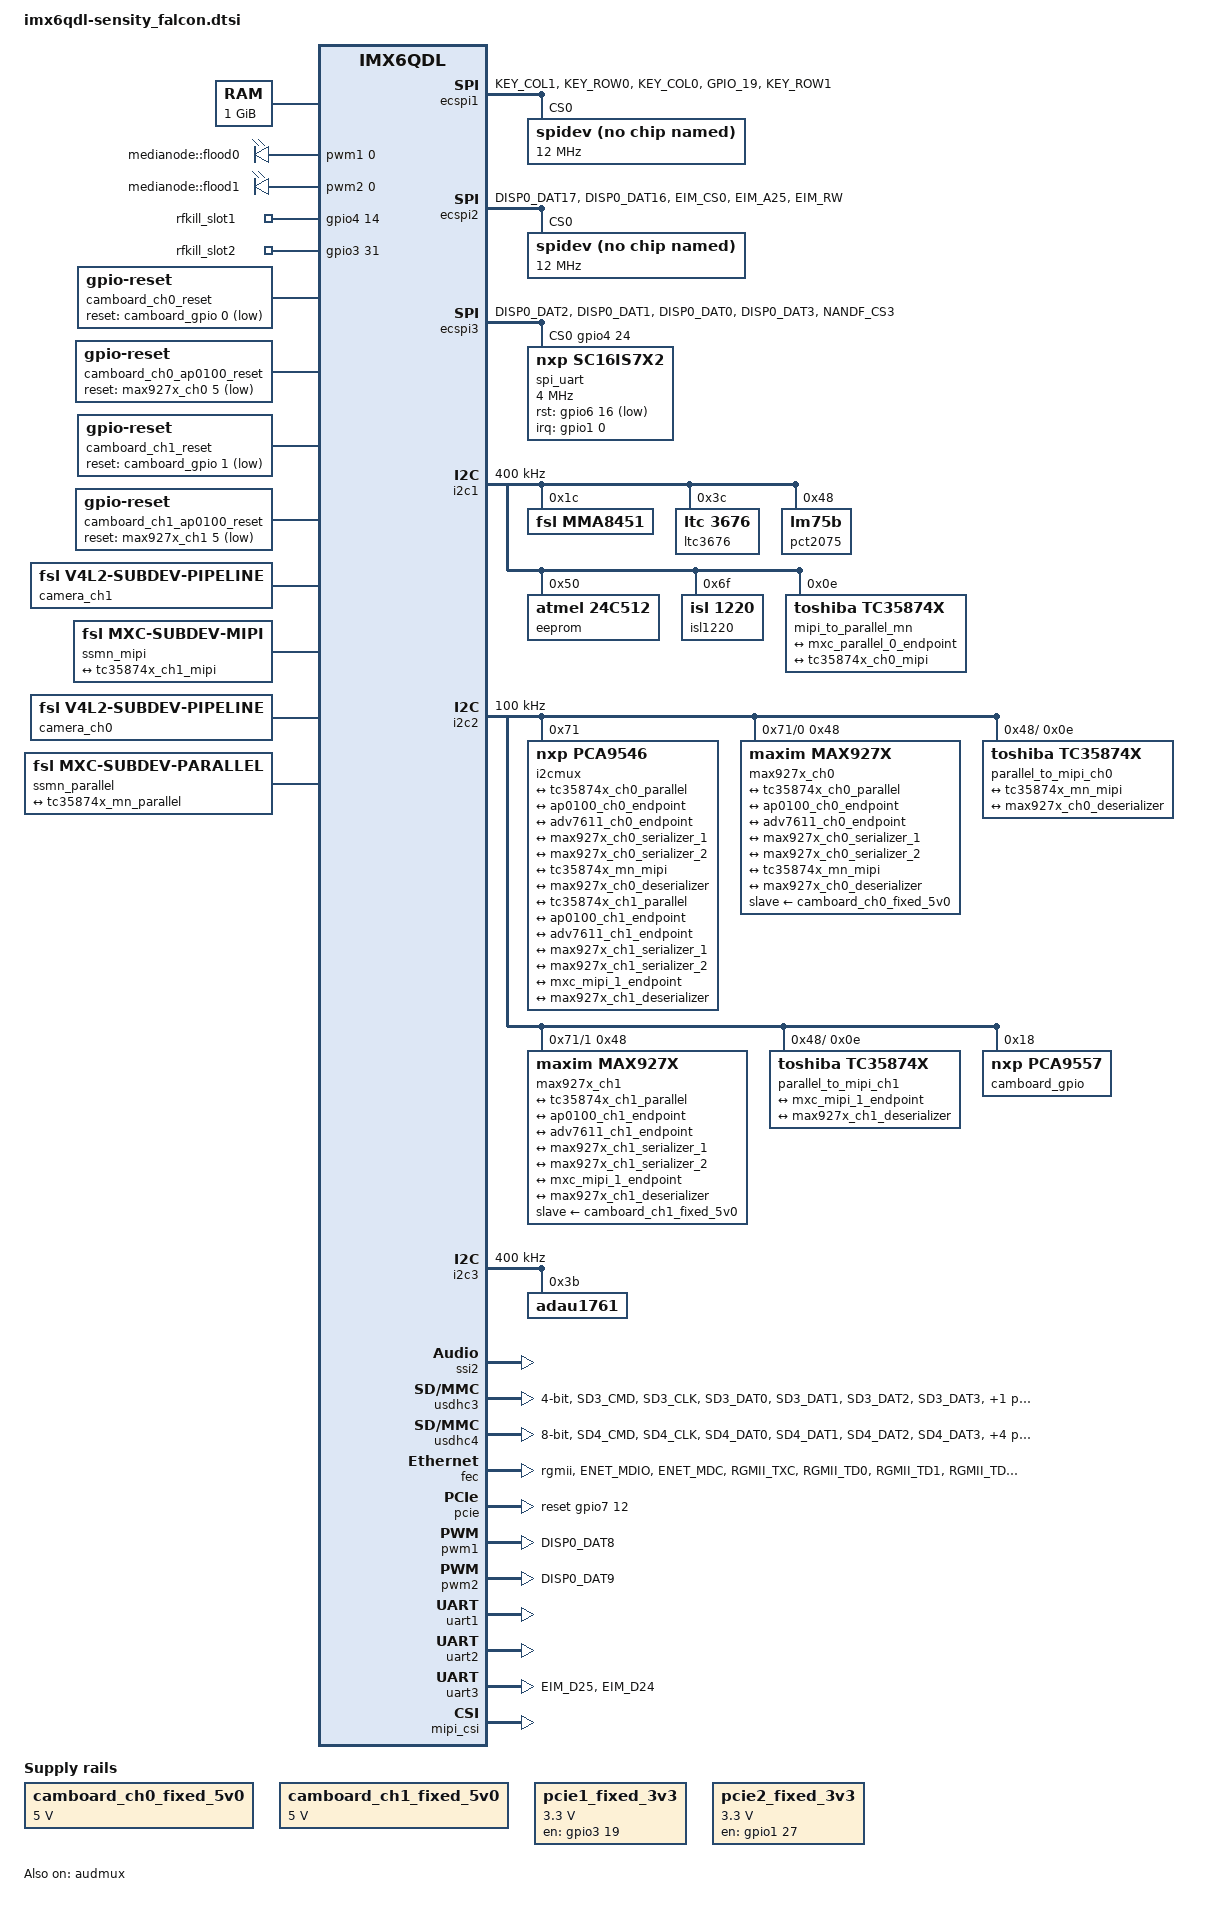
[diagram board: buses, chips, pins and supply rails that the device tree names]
/*
 * Definitions common to all flavors of the Falcon.
 *
 * Copyright (C) 2014 Sensity Systems, Inc.
 *
 * CONFIDENTIAL AND PROPRIETARY.
 */

/ {
/*
	aliases {
		mxcfb0 = &mxcfb1;
	};
*/

	memory {
		reg = <0x10000000 0x40000000>;
	};

	pwm-floods {
		compatible = "pwm-leds";

		flood0 {
			label = "medianode::flood0";
			pwms = <&pwm1 0 20000>;	/*  50KHz cycle  */
			max-brightness = <255>;
		};
		flood1 {
			label = "medianode::flood1";
			pwms = <&pwm2 0 20000>;	/*  50KHz cycle  */
			max-brightness = <255>;
		};
	};

  /*
	mxcfb1: fb@0 {
		compatible = "fsl,mxc_sdc_fb";
		disp_dev = "hdmi";
		interface_pix_fmt = "RGB24";
		mode_str ="1920x1080M@60";
		default_bpp = <24>;
		int_clk = <0>;
		late_init = <0>;
		status = "okay";
	};

	mxcfb2: fb@1 {
		compatible = "fsl,mxc_sdc_fb";
		disp_dev = "ldb";
		interface_pix_fmt = "RGB666";
		mode_str ="LDB-XGA";
		default_bpp = <16>;
		int_clk = <0>;
		late_init = <0>;
		status = "okay";
	};

	mxcfb3: fb@2 {
		compatible = "fsl,mxc_sdc_fb";
		disp_dev = "lcd";
		interface_pix_fmt = "RGB565";
		mode_str ="CLAA-WVGA";
		default_bpp = <16>;
		int_clk = <0>;
		late_init = <0>;
		status = "okay";
	};

	mxcfb4: fb@3 {
		compatible = "fsl,mxc_sdc_fb";
		disp_dev = "ldb";
		interface_pix_fmt = "RGB666";
		mode_str ="LDB-XGA";
		default_bpp = <16>;
		int_clk = <0>;
		late_init = <0>;
		status = "okay";
	};
	*/

	v4l2_cap_0 {
		compatible = "fsl,imx6q-v4l2-capture";
		ipu_id = <1>;
		csi_id = <1>;
		vdev = <0>;
		mclk_source = <0>;
		status = "okay";
	};

	v4l2_cap_1 {
		compatible = "fsl,imx6q-v4l2-capture";
		ipu_id = <0>;
		csi_id = <0>;
		vdev = <1>;
		mclk_source = <0>;
		status = "okay";
	};

	v4l2_out {
		compatible = "fsl,mxc_v4l2_output";
		status = "okay";
	};

	regulators {
		compatible = "simple-bus";

		/*
		 * IMPORTANT: For the camboard_ch[01]_fixed_5v0 nodes, be
		 * sure to declare the 'gpio' and optionally the
		 * enable-active-high properties in the top-level machine
		 * definition.
		 */
		camboard_ch0_fixed_5v0: camboard-ch0-fixed-5v0 {
			compatible = "regulator-fixed";
			regulator-name = "camboard-ch0-fixed-5v0";
			regulator-min-microvolt = <5000000>;
			regulator-max-microvolt = <5000000>;
			/*  gpio = <&camboard_gpio 2 GPIO_ACTIVE_???>;	// Set in top-level.  */
			gpio-open-drain;
			/*  enable-active-high;  // Optionally set in top-level.  */
			regulator-boot-on;
		};

		camboard_ch1_fixed_5v0: camboard-ch1-fixed-5v0 {
			compatible = "regulator-fixed";
			regulator-name = "camboard-ch1-fixed-5v0";
			regulator-min-microvolt = <5000000>;
			regulator-max-microvolt = <5000000>;
			/*  gpio = <&camboard_gpio 3 GPIO_ACTIVE_???>;  // Set in top-level.  */
			gpio-open-drain;
			/*  enable-active-high;  // Optionally set in top-level.  */
			regulator-boot-on;
		};

		pcie1_fixed_3v3: pcie1-fixed-3v3 {
			compatible = "regulator-fixed";
			regulator-name = "pcie1-fixed-3v3";
			regulator-min-microvolt = <3300000>;
			regulator-max-microvolt = <3300000>;
			gpio = <&gpio3 19 0>;
			enable-active-high;
			regulator-always-on;
		};

		pcie2_fixed_3v3: pcie2-fixed-3v3 {
			compatible = "regulator-fixed";
			regulator-name = "pcie2-fixed-3v3";
			regulator-min-microvolt = <3300000>;
			regulator-max-microvolt = <3300000>;
			gpio = <&gpio1 27 0>;
			enable-active-high;
			regulator-always-on;
		};
	};

	rfkill_slot1: rfkill-slot1 {
		compatible = "rfkill-gpio";
		rfkill-name = "pcie-slot1";
		rfkill-type = <5>;
		gpios = <&gpio4 14 0>;
		gpio-names = "shutdown";
		enable-quirk;
	};

	rfkill_slot2: rfkill-slot2 {
		compatible = "rfkill-gpio";
		rfkill-name = "pcie-slot2";
		rfkill-type = <5>;
		gpios = <&gpio3 31 0>;
		gpio-names = "shutdown";
	};

	camboard_ch0_reset: camboard-ch0-reset {
		compatible = "gpio-reset";
		reset-gpios = <&camboard_gpio 0 GPIO_ACTIVE_LOW>;
		reset-delay-us = <500000>;
		#reset-cells = <0>;
		gpio-open-drain;
		sleep-ok;
	};

	camboard_ch0_ap0100_reset: camboard-ch0-ap0100-reset {
		compatible = "gpio-reset";
		reset-gpios = <&max927x_ch0 5 GPIO_ACTIVE_LOW>;
		reset-delay-us = <1100000>;
		#reset-cells = <0>;
		gpio-open-drain;
		sleep-ok;
	};

	camboard_ch1_reset: camboard-ch1-reset {
		compatible = "gpio-reset";
		reset-gpios = <&camboard_gpio 1 GPIO_ACTIVE_LOW>;
		reset-delay-us = <500000>;
		#reset-cells = <0>;
		gpio-open-drain;
		sleep-ok;
	};

	camboard_ch1_ap0100_reset: camboard-ch1-ap0100-reset {
		compatible = "gpio-reset";
		reset-gpios = <&max927x_ch1 5 GPIO_ACTIVE_LOW>;
		reset-delay-us = <1100000>;
		#reset-cells = <0>;
		gpio-open-drain;
		sleep-ok;
	};

	camera_ch1 {
		compatible = "fsl,v4l2-subdev-pipeline";
		mxc-node = <&ssmn_mipi>;
	};

	/* Camera driver on MIPI interface */
	ssmn_mipi: mxc_mipi_ch1 {
		compatible = "fsl,mxc-subdev-mipi";
		clocks = <&clks 201>;
		clock-names = "csi_mclk";
		ipu_id = <0>;
		csi_id = <0>;
		vdev = <1>;
		mclk = <24000000>;
		mclk_source = <0>;
		gpr = <&gpr>;

		port {
			mxc_mipi_1_endpoint: endpoint {
				remote-endpoint = <&tc35874x_ch1_mipi>;
				/*data-lanes = <0 1>; ?*/
				/*clock-lanes = <0>; ?*/
			};
		};
	};

	camera_ch0 {
		compatible = "fsl,v4l2-subdev-pipeline";
		mxc-node = <&ssmn_parallel>;
	};

	ssmn_parallel: mxc_parallel_ch0 {
		compatible = "fsl,mxc-subdev-parallel";
		pinctrl-names = "default";
		pinctrl-0 = <&pinctrl_ipu2_2_mn>;
		clocks = <&clks 201>;
		clock-names = "csi_mclk";
		ipu_id = <1>;
		csi_id = <1>;
		vdev = <0>;
		mclk = <24000000>;
		mclk_source = <0>;
		gpr = <&gpr>;

		port {
			/*lines commented out need to be confirmed*/
			mxc_parallel_0_endpoint: endpoint {
			remote-endpoint = <&tc35874x_mn_parallel>;
				bus-width = <10>; /*technically true but only 8 are used now*/
				data-shift = <0>;
				/*hsync-active = <0>; ?*/
				/*vsync-active = <0>; ?*/
				/*pclk-sample = <0>; ?*/
			};
		};
	};

	sound 	{
		compatible = "adi,imx-sound";
		clocks = <&clks 3> , <&clks 198> , <&clks 200> , <&clks 201>;
		clock-names = "osc" , "cko2_sel" , "cko2" , "cko";
		audio-codec = <&adau1761>;
		ssi-controller = <&ssi2>;
		mux-int-port = <2>;
		mux-ext-port = <4>;
		};

};

/*  Use native chipselects for all SPI channels.  */
&ecspi1 {
	/*  All signals go out on connector J23.  */
	fsl,spi-num-chipselects = <1>;
//	cs-gpios = <0>;		// <&gpio4 9 0>;	/*  KEY_ROW1  */
	pinctrl-names = "default";
	pinctrl-0 = <&pinctrl_ecspi1_mn>;
	status = "okay";

	spidev@0 {
		compatible = "spidev";
		spi-max-frequency = <12000000>;
		reg = <0>;
	};
};

&ecspi2 {
	/*  All signals go out on connector J23.  */
	fsl,spi-num-chipselects = <1>;
//	cs-gpios = <0>;		// <&gpio2 26 0>;	/*  EIM_RW  */
	pinctrl-names = "default";
	pinctrl-0 = <&pinctrl_ecspi2_mn>;
	status = "okay";

	spidev@0 {
		compatible = "spidev";
		spi-max-frequency = <12000000>;
		reg = <0>;
	};
};

&ecspi3 {
	fsl,spi-num-chipselects = <1>;
	cs-gpios = <&gpio4 24 0>;	/*  DISP0_DAT03  */
	pinctrl-names = "default";
	pinctrl-0 = <&pinctrl_ecspi3_mn>;
	status = "okay";

	spi_uart: sc16is7x2@0 {
		#address-cells = <1>;
		#size-cells = <1>;
		compatible = "nxp,sc16is7x2";
		spi-max-frequency = <4000000>;
		reg = <0>;
		uartclk = <1843200>;
		rst_gpio = <&gpio6 16 1>;
		uart_base = <0>;
		gpio_base = <224>;	/*  <&gpio7 0 0> ?  */
		interrupt-parent = <&gpio1>;
		interrupts = <0 2>;
	};

//	/*  Entry for basic bus testing.  */
//	spidev@0 {
//		compatible = "spidev";
//		spi-max-frequency = <12000000>;
//		reg = <0>;
//	};
};


/*
&hdmi_audio {
	status = "okay";
};

&hdmi_cec {
	pinctrl-names = "default";
	pinctrl-0 = <&pinctrl_hdmi_cec_2>;
	status = "okay";
};

&hdmi_core {
	ipu_id = <0>;
	disp_id = <0>;
	status = "okay";
};

&hdmi_video {
	fsl,phy_reg_vlev = <0x0294>;
	fsl,phy_reg_cksymtx = <0x800d>;
	status = "okay";
};
*/

&i2c1 {
	clock-frequency = <400000>;
	pinctrl-names = "default" , "recovery";
	pinctrl-0 = <&pinctrl_i2c1_2>;	/*  "CSI DATA" pins.  */
	pinctrl-1 = <&pinctrl_i2c1_2_recovery>;
	sda-gpio = <&gpio5 26 0>;
	scl-gpio = <&gpio5 27 0>;
	status = "okay";

	mma8451@1c {
		compatible = "fsl,mma8451";
		reg = <0x1c>;
		position = <1>;
		//vdd-supply = <&reg_sensor>;
		//vddio-supply = <&reg_sensor>;
	};

	/*  LTC3676 PMIC.  (Appears on schematic as LTM3676IUJ.)  */
	ltc3676@3c {
		compatible = "ltc,3676";
		reg = <0x3c>;
	};

	/*  NXP PCT2075 temperature sensor.  */
	pct2075@48 {
		compatible = "lm75b", "lm75";
		reg = <0x48>;
	};

	eeprom@50 {
		compatible = "atmel,24c512";
		reg = <0x50>;
		pagesize = <128>;
	};

	/*  ISL1220 RTC  */
	isl1220@6f {
		compatible = "isl,1220", "isl,1208", "isl,12022";
		reg = <0x6f>;
	};

	/*  Toshiba MIPI bridge 0 on parallel interface: CPLBTX->CPLBRX(MIPI-Rx Parallel-Tx) */
	mipi_to_parallel_mn: mn-tc35874x@0e {
		compatible = "toshiba,tc35874x";
		reg = <0x0e>;
		output-mode = "parallel";

		ports {
		#address-cells = <1>;
		#size-cells = <0>;
			port@0 {
				/*lines commented out need to be confirmed*/
				tc35874x_mn_parallel: endpoint {
					remote-endpoint = <&mxc_parallel_0_endpoint>;
					bus-width = <10>; /*technically true but only 8 are used now*/
					data-shift = <0>;
					/*hsync-active = <0>; ?*/
					/*vsync-active = <0>; ?*/
					/*pclk-sample = <0>; ?*/
				};
			};
			port@1 {
				tc35874x_mn_mipi: endpoint {
					remote-endpoint = <&tc35874x_ch0_mipi>;
					/*data-lanes = <0 1>; ?*/
					/*clock-lanes = <0>; ?*/
				};
			};
		};
	};

	/*  PI7C9X2G303EL PCIe switch  */
};

&i2c2 {
	/*  All signals go out on connector J23.  */
	clock-frequency = <100000>;
	pinctrl-names = "default", "recovery";
	pinctrl-0 = <&pinctrl_i2c2_2>;	/*  "KEY COL/ROW" pins.  */
	pinctrl-1 = <&pinctrl_i2c2_2_recovery>;
	scl-gpio = <&gpio4 12 0>;
	sda-gpio = <&gpio4 13 0>;
	status = "okay";

	/* mxc_hdmi_i2c is inoperative because it needs to use the i2c mux.
	 	However, moving mxc_hdmi_i2c to the mux appears to cause problems
	 	with the other freescale drivers.  There are default values used
	 	if the EDID can't be read which is why it still works.
	 */
  /*
	mxc_hdmi_i2c@50 {
		compatible = "fsl,mxc_hdmi_i2c";
		reg = <0x50>;
	};
  */

	/* PCA9546 I2C multiplexer */
	i2cmux@71 {
		#address-cells = <1>;
		#size-cells = <0>;
		compatible = "nxp,pca9546";
		reg = <0x71>;
		/*DO NOT ADD nxp,deselect-on-exit as this will break
		 *code which expects the mux to be selected across an entire
		 *i2c transaction
		*/
	    i2c5: i2c@0 {
			#address-cells = <1>;
			#size-cells = <0>;
			compatible = "nxp,pca954x-bus";
			reg = <0>;
			nr = <4>;
		};
		i2c6: i2c@1 {
			#address-cells = <1>;
			#size-cells = <0>;
			compatible = "nxp,pca954x-bus";
			reg = <1>;
			nr = <5>;
		};
		i2c7: i2c@2 {
			#address-cells = <1>;
			#size-cells = <0>;
			compatible = "nxp,pca954x-bus";
			reg = <2>;
			nr = <6>;
		};
		i2c8: i2c@3 {
			#address-cells = <1>;
			#size-cells = <0>;
			compatible = "nxp,pca954x-bus";
			reg = <3>;
			nr = <7>;
		};
	};

	/* PCA9557 I/O expander */
	camboard_gpio: io_expander@18 {
		compatible = "nxp,pca9557";
		gpio-controller;
		#gpio-cells = <2>;
		gpio_base = <248>;	/* /sys/kernel/debug/gpio */
		reg = <0x18>;
	};
};

&i2c3 {
	/*  All signals go out on mini PCIe bus connectors.  */
	clock-frequency = <400000>;
	pinctrl-names = "default", "recovery";
	pinctrl-0 = <&pinctrl_i2c3_2>;	/*  "GPIO[36]" pins.  */
	pinctrl-1 = <&pinctrl_i2c3_2_recovery>;
	status = "okay";
	scl-gpio = <&gpio1 3 0>;
	sda-gpio = <&gpio1 6 0>;

	/*https://github.com/analogdevicesinc/linux/blob/adau17x1/sound/soc/codecs/adau1761.c*/
	adau1761:adau1761@3b {
		compatible = "adau1761";
		reg = <0x3b>;
	};
};


&i2c5 {

	max927x_ch0: camboard-ch0-max927x@48 {
		compatible = "maxim,max927x";
		resets = <&camboard_ch0_reset>;
		reg = <0x48>;
		remote-reg = <0x40>;
		slave-supply = <&camboard_ch0_fixed_5v0>;
		slave-on-delay-ms = <1150>;
		/*The voltage goes from about 5V to 1.125V after 2s*/
		/*Longer does not really help*/
		slave-off-delay-ms = <2000>;
    /*REVTXAMP REV_TRF REV_DIG_FLT REV_LOGAIN REV_HIGAIN REV_HIBW REV_HIVTH I2C_SLVSH I2C_MSTBT CMLLVL PREEMP SPREAD*/
    cfg-0 = <5 2 0 1 0 0 0 3 4 10 0 0>;

		#address-cells = <1>;
		#size-cells = <0>;
		i2c-nr = <8>;

		gpio-controller;
		#gpio-cells = <2>;

		ports {
			#address-cells = <1>;
			#size-cells = <0>;

			port@0 {
				max927x_ch0_deserializer: endpoint {
					remote-endpoint = <&tc35874x_ch0_parallel>;
					bus-width = <10>; /*technically true but only 8 are used now*/
					data-shift = <0>;
					/*hsync-active = <0>; ?*/
					/*vsync-active = <0>; ?*/
					/*pclk-sample = <0>; ?*/
				};
			};

			port@1 {
				max927x_ch0_serializer_1: endpoint {
					remote-endpoint = <&ap0100_ch0_endpoint>;
					bus-width = <10>; /*technically true but only 8 are used now*/
					data-shift = <0>;
					hsync-active = <0>;
					vsync-active = <0>;
					pclk-sample = <0>;
				};
			};

			port@2 {
				max927x_ch0_serializer_2: endpoint {
					remote-endpoint = <&adv7611_ch0_endpoint>;
					bus-width = <8>;
					data-shift = <0>;
					hsync-active = <0>;
					vsync-active = <0>;
					pclk-sample = <0>;
				};
			};
		};

		i2c9: i2c@0 {
			#address-cells = <1>;
			#size-cells = <0>;
			i2c;

			ap0100_ch0: camboard-ch0-ap0100@5d {
				status = "disabled";
				compatible = "aptina,ap0100_m034";
				resets = <&camboard_ch0_ap0100_reset>;
				reg = <0x5d>;

				port {
					ap0100_ch0_endpoint: endpoint {
						remote-endpoint = <&max927x_ch0_serializer_1>;
						bus-width = <10>; /*technically true but only 8 are used now*/
						data-shift = <0>;
						/*hsync-active = <0>; ?*/
						/*vsync-active = <0>; ?*/
						/*pclk-sample = <0>; ?*/
					};
				};
			};

			adv7611_ch0: camboard-ch0-adv7611@4c {
				status = "disabled";
				compatible = "adi,adv7611";
				reg = <0x4c>;
				reg-avlink = <0x60>;
				reg-cec = <0x61>;
				reg-infoframe = <0x62>;
				reg-esdp = <0x63>;
				reg-dpp = <0x64>;
				reg-afe = <0x65>;
				reg-rep = <0x66>;
				reg-edid = <0x67>;
				reg-hdmi = <0x68>;
				reg-test = <0x69>;
				reg-cp = <0x6a>;
				reg-vdp = <0x6b>;
				default-input = <0>;

				ports {
					#address-cells = <1>;
					#size-cells = <0>;
/*
					hdmi_ch0: port@0 {
						reg = <0>;
					};
*/
					port@1 {
						reg = <1>;
						adv7611_ch0_endpoint: endpoint {
							remote-endpoint = <&max927x_ch0_serializer_2>;
							bus-width = <8>;
							data-shift = <0>;
							hsync-active = <0>;
							vsync-active = <0>;
							pclk-sample = <0>;
						};
					};
				};
			};

			/*HACK tc bridge is a child here because it shares a reset with max927x*/
			/*  Toshiba MIPI bridge 1 on MIPI interface/channel: Parallel-Rx MIPI-Tx */
			parallel_to_mipi_ch0: camboard-ch0-tc35874x@0e {
				compatible = "toshiba,tc35874x";
				reg = <0x0e>;
				output-mode = "mipi";

				ports {
					#address-cells = <1>;
					#size-cells = <0>;
					port@0 {
						tc35874x_ch0_mipi: endpoint {
							remote-endpoint = <&tc35874x_mn_mipi>;
							/*data-lanes = <0 1>; ?*/
							/*clock-lanes = <0>; ?*/
						};
					};
					port@1 {
						/*lines commented out need to be confirmed*/
						tc35874x_ch0_parallel: endpoint {
							remote-endpoint = <&max927x_ch0_deserializer>;
							bus-width = <10>; /*technically true but only 8 are used now*/
							data-shift = <0>;
							/*hsync-active = <0>; ?*/
							/*vsync-active = <0>; ?*/
							/*pclk-sample = <0>; ?*/
						};
					};
				};
			};
		};
	};
};

&i2c6 {
	max927x_ch1: camboard-ch1-max927x@48 {
		compatible = "maxim,max927x";
		resets = <&camboard_ch1_reset>;
		reg = <0x48>;
		remote-reg = <0x40>;
		slave-supply = <&camboard_ch1_fixed_5v0>;
		slave-on-delay-ms = <1150>;
		/*The voltage goes from about 5V to 1.125V after 2s*/
		/*Longer does not really help*/
		slave-off-delay-ms = <2000>;
    /*REVTXAMP REV_TRF REV_DIG_FLT REV_LOGAIN REV_HIGAIN REV_HIBW REV_HIVTH I2C_SLVSH I2C_MSTBT CMLLVL PREEMP SPREAD*/
    cfg-0 = <5 2 0 1 0 0 0 3 4 10 0 0>;

		#address-cells = <1>;
		#size-cells = <0>;
		i2c-nr = <9>;

		gpio-controller;
		#gpio-cells = <2>;

		ports {
			#address-cells = <1>;
			#size-cells = <0>;

			port@0 {
				max927x_ch1_deserializer: endpoint {
					remote-endpoint = <&tc35874x_ch1_parallel>;
					bus-width = <10>; /*technically true but only 8 are used now*/
					data-shift = <0>;
					/*hsync-active = <0>; ?*/
					/*vsync-active = <0>; ?*/
					/*pclk-sample = <0>; ?*/
				};
			};

			port@1 {
				max927x_ch1_serializer_1: endpoint {
					remote-endpoint = <&ap0100_ch1_endpoint>;
					bus-width = <10>; /*technically true but only 8 are used now*/
					data-shift = <0>;
					/*hsync-active = <0>; ?*/
					/*vsync-active = <0>; ?*/
					/*pclk-sample = <0>; ?*/
				};
			};

			port@2 {
				max927x_ch1_serializer_2: endpoint {
					remote-endpoint = <&adv7611_ch1_endpoint>;
					bus-width = <8>; /*technically true but only 8 are used now*/
					data-shift = <0>;
					/*hsync-active = <0>; ?*/
					/*vsync-active = <0>; ?*/
					/*pclk-sample = <0>; ?*/
				};
			};
		};

		i2c10: i2c@0 {
			#address-cells = <1>;
			#size-cells = <0>;
			i2c;

			ap0100_ch1: camboard-ch1-ap0100@5d {
				status = "disabled";
				compatible = "aptina,ap0100_m034";
				resets = <&camboard_ch1_ap0100_reset>;
				reg = <0x5d>;

				port {
					ap0100_ch1_endpoint: endpoint {
						remote-endpoint = <&max927x_ch1_serializer_1>;
						bus-width = <10>; /*technically true but only 8 are used now*/
						data-shift = <0>;
						/*hsync-active = <0>; ?*/
						/*vsync-active = <0>; ?*/
						/*pclk-sample = <0>; ?*/
					};
				};
			};

			adv7611_ch1: camboard-ch1-adv7611@4c {
				status = "disabled";
				compatible = "adi,adv7611";
				reg = <0x4c>;
				reg-avlink = <0x60>;
				reg-cec = <0x61>;
				reg-infoframe = <0x62>;
				reg-esdp = <0x63>;
				reg-dpp = <0x64>;
				reg-afe = <0x65>;
				reg-rep = <0x66>;
				reg-edid = <0x67>;
				reg-hdmi = <0x68>;
				reg-test = <0x69>;
				reg-cp = <0x6a>;
				reg-vdp = <0x6b>;
				default-input = <0>;

				ports {
					#address-cells = <1>;
					#size-cells = <0>;
/*
					hdmi_ch0: port@0 {
						reg = <0>;
					};
*/
					port@1 {
						reg = <1>;
						adv7611_ch1_endpoint: endpoint {
							remote-endpoint = <&max927x_ch1_serializer_2>;
							bus-width = <8>;
							data-shift = <0>;
							hsync-active = <0>;
							vsync-active = <0>;
							pclk-sample = <0>;
						};
					};
				};
			};

			/*HACK tc bridge is a child here because it shares a reset with max927x*/
			/*  Toshiba MIPI bridge 1 on MIPI interface/channel: Parallel-Rx MIPI-Tx */
			parallel_to_mipi_ch1: camboard-ch1-tc35874x@0e {
				compatible = "toshiba,tc35874x";
				reg = <0x0e>;
				output-mode = "mipi";
				#address-cells = <1>;
				#size-cells = <0>;
				ports {
					port@0 {
						tc35874x_ch1_mipi: endpoint {
							remote-endpoint = <&mxc_mipi_1_endpoint>;
							/*data-lanes = <0 1>; ?*/
							/*clock-lanes = <0>; ?*/
						};
					};
					port@1 {
						/*lines commented out need to be confirmed*/
						tc35874x_ch1_parallel: endpoint {
							remote-endpoint = <&max927x_ch1_deserializer>;
							bus-width = <10>; /*technically true but only 8 are used now*/
							data-shift = <0>;
							/*hsync-active = <0>; ?*/
							/*vsync-active = <0>; ?*/
							/*pclk-sample = <0>; ?*/
						};
					};
				};
			};
		};
	};
};

&ssi2 {
        fsl,mode = "i2s-slave";
         status = "okay";
};

&audmux {
        pinctrl-names = "default";
        pinctrl-0 = <&pinctrl_audmux_4>;
        status = "okay";
};

&usdhc3 {
	pinctrl-names = "default";
	pinctrl-0 = <&pinctrl_usdhc3_mn>;
	cd-gpios = <&gpio6 11 0>;
	bus-width = <4>;
	no-1-8-v;
	status = "okay";
};

&usdhc4 {
	pinctrl-names = "default";
	pinctrl-0 = <&pinctrl_usdhc4_mn>;
	bus-width = <8>;
	no-1-8-v;
	status = "okay";
};

&fec {
	pinctrl-names = "default";
	pinctrl-0 = <&pinctrl_enet_4>;
	phy-mode = "rgmii";
	/* KR - phy does not appear to work properly when the reset is enabled
	   u-boot resets the phy once at reboot, I hope that is enough.
	   Before the HW change, phy had link problems (link on, no packets,
	   tx queue timeout). */
	/*phy-reset-gpios = <&gpio1 25 0>;*/
	status = "okay";
};

&pcie {
	reset-gpio = <&gpio7 12 0>;
	wake-up-gpio = <&gpio1 5 0>;	/*, <&gpio1 7 0>;  */
	status = "okay";
};

&pwm1 {
	pinctrl-names = "default";
	pinctrl-0 = <&pinctrl_pwm1_2>;	/*  DISP0_DAT8  */
	status = "okay";
};

&pwm2 {
	pinctrl-names = "default";
	pinctrl-0 = <&pinctrl_pwm2_1>;	/*  DISP0_DAT9  */
	status = "okay";
};

&uart1 {
	pinctrl-names = "default";
	pinctrl-0 = <&pinctrl_uart1_1>;
	status = "okay";
};

&uart2 {
	pinctrl-names = "default";
	pinctrl-0 = <&pinctrl_uart2_1>;
	fsl,uart-has-rtscts;
	status = "okay";
};

&uart3 {
	pinctrl-names = "default";
	pinctrl-0 = <&pinctrl_uart3_2>;	/*  EIM_D{24,25}  */
	status = "okay";
};

/*
&usbh1 {
	//vbus-supply = <&reg_usb_h1_vbus>;
	status = "okay";
};

&usbotg {
	//vbus-supply = <&reg_usb_otg_vbus>;
	pinctrl-names = "default";
	pinctrl-0 = <&pinctrl_usbotg_2>;
	disable-over-current;
	status = "okay";
};
*/

&iomuxc {
	pinctrl-names = "default";
	pinctrl-0 = <&pinctrl_hog_mn>;

	i2c1 {
		pinctrl_i2c1_2_recovery: i2c1grp-2-recovery {
			fsl,pins = <
				MX6QDL_PAD_CSI0_DAT8__GPIO5_IO26 0x4001b8b1
				MX6QDL_PAD_CSI0_DAT9__GPIO5_IO27 0x4001b8b1
			>;
		};
	};
	i2c2 {
		pinctrl_i2c2_2_recovery: i2c2grp-2-recovery {
			fsl,pins = <
				MX6QDL_PAD_KEY_COL3__GPIO4_IO12 0x4001b8b1
				MX6QDL_PAD_KEY_ROW3__GPIO4_IO13 0x4001b8b1
			>;
		};
	};
	i2c3 {
		pinctrl_i2c3_2_recovery: i2c3grp-2-recovery {
			fsl,pins = <
				MX6QDL_PAD_GPIO_3__GPIO1_IO03 0x4001b8b1
				MX6QDL_PAD_GPIO_6__GPIO1_IO06 0x4001b8b1
			>;
		};
	};

	ecspi1 {
		pinctrl_ecspi1_mn: ecspi1grp-mn {
			fsl,pins = <
				MX6QDL_PAD_KEY_COL1__ECSPI1_MISO	0x100b1
				MX6QDL_PAD_KEY_ROW0__ECSPI1_MOSI	0x100b1
				MX6QDL_PAD_KEY_COL0__ECSPI1_SCLK	0x100b1
				MX6QDL_PAD_GPIO_19__ECSPI1_RDY		0x100b0
				MX6QDL_PAD_KEY_ROW1__ECSPI1_SS0		0x100b0
			>;
		};
	};

	ecspi2 {
		pinctrl_ecspi2_mn: ecspi2grp-mn {
			fsl,pins = <
				MX6QDL_PAD_DISP0_DAT17__ECSPI2_MISO	0x1b0b1
				MX6QDL_PAD_DISP0_DAT16__ECSPI2_MOSI	0x1b0b1
				MX6QDL_PAD_EIM_CS0__ECSPI2_SCLK		0x1b0b1
				MX6QDL_PAD_EIM_A25__ECSPI2_RDY		0x1b0b0
				MX6QDL_PAD_EIM_RW__ECSPI2_SS0		0x1b0b0
			>;
		};
	};

	ecspi3 {
		pinctrl_ecspi3_mn: ecspi3grp-mn {
			fsl,pins = <
				MX6QDL_PAD_DISP0_DAT2__ECSPI3_MISO	0x400100b1
				MX6QDL_PAD_DISP0_DAT1__ECSPI3_MOSI	0x100b1
				MX6QDL_PAD_DISP0_DAT0__ECSPI3_SCLK	0x100b1
				MX6QDL_PAD_DISP0_DAT3__GPIO4_IO24	0x1a090
				/*  This should probably be somewhere else.  */
				MX6QDL_PAD_NANDF_CS3__GPIO6_IO16	0x1a090
			>;
		};
	};

	ecspi4 {
		pinctrl_ecspi4_mn: ecspi4grp-mn {
			fsl,pins = <
				MX6QDL_PAD_EIM_D22__ECSPI4_MISO		0x100b1
//				MX6QDL_PAD_EIM_D28__ECSPI4_MOSI		0x100b1
				MX6QDL_PAD_EIM_D21__ECSPI4_SCLK		0x100b1
				MX6QDL_PAD_EIM_D20__ECSPI4_SS0		0x100b0
			>;
		};
	};

	enet {
		/* RGMII_T* and RGMII_R* pads need to have drive strength
		   bits set to 0x100 (57_OHM) */
		pinctrl_enet_4: enetgrp-4 {
			fsl,pins = <
				MX6QDL_PAD_ENET_MDIO__ENET_MDIO       0x1b0b0
				MX6QDL_PAD_ENET_MDC__ENET_MDC         0x1b0b0
				MX6QDL_PAD_RGMII_TXC__RGMII_TXC       0x1b020
				MX6QDL_PAD_RGMII_TD0__RGMII_TD0       0x1b020
				MX6QDL_PAD_RGMII_TD1__RGMII_TD1       0x1b020
				MX6QDL_PAD_RGMII_TD2__RGMII_TD2       0x1b020
				MX6QDL_PAD_RGMII_TD3__RGMII_TD3       0x1b020
				MX6QDL_PAD_RGMII_TX_CTL__RGMII_TX_CTL 0x1b020
				MX6QDL_PAD_ENET_REF_CLK__ENET_TX_CLK  0x1b0b0
				MX6QDL_PAD_RGMII_RXC__RGMII_RXC       0x1b020
				MX6QDL_PAD_RGMII_RD0__RGMII_RD0       0x1b020
				MX6QDL_PAD_RGMII_RD1__RGMII_RD1       0x1b020
				MX6QDL_PAD_RGMII_RD2__RGMII_RD2       0x1b020
				MX6QDL_PAD_RGMII_RD3__RGMII_RD3       0x1b020
				MX6QDL_PAD_RGMII_RX_CTL__RGMII_RX_CTL 0x1b020
				MX6QDL_PAD_ENET_CRS_DV__GPIO1_IO25    0x1b0b0
			>;
		};
	};

	pwm1 {
		pinctrl_pwm1_2: pwm1grp-2 {
			fsl,pins = <
				MX6QDL_PAD_DISP0_DAT8__PWM1_OUT	0x1b0b1
			>;
		};

		pinctrl_pwm1_3: pwm1grp-3 {
			fsl,pins = <
				MX6QDL_PAD_GPIO_9__PWM1_OUT	0x1b0b1
			>;
		};
	};

	pwm2 {
		pinctrl_pwm2_1: pwm2grp-1 {
			fsl,pins = <
				MX6QDL_PAD_DISP0_DAT9__PWM2_OUT	0x1b0b1
			>;
		};

		pinctrl_pwm2_2: pwm2grp-2 {
			fsl,pins = <
				MX6QDL_PAD_GPIO_1__PWM2_OUT	0x1b0b1
			>;
		};

		pinctrl_pwm2_3: pwm2grp-3 {
			fsl,pins = <
				MX6QDL_PAD_SD1_DAT2__PWM2_OUT	0x1b0b1
			>;
		};
	};

	uart3 {
		pinctrl_uart3_2: uart3grp-2 {
			fsl,pins = <
				MX6QDL_PAD_EIM_D25__UART3_RX_DATA 0x1b0b1
				MX6QDL_PAD_EIM_D24__UART3_TX_DATA 0x1b0b1
			>;
		};
	};

/*  SION disabled:HYS Enabled:100KOhm PU:PUE Enabled:PKE Enabled:ODT disabled:100MHz:90Ohm:SLOW  */
#define PADCTL_EMMC	0x0001B098
	usdhc3 {
		pinctrl_usdhc3_mn: usdhc3grp-mn {
			fsl,pins = <
				MX6QDL_PAD_SD3_CMD__SD3_CMD     PADCTL_EMMC
				MX6QDL_PAD_SD3_CLK__SD3_CLK     PADCTL_EMMC
				MX6QDL_PAD_SD3_DAT0__SD3_DATA0  PADCTL_EMMC
				MX6QDL_PAD_SD3_DAT1__SD3_DATA1  PADCTL_EMMC
				MX6QDL_PAD_SD3_DAT2__SD3_DATA2  PADCTL_EMMC
				MX6QDL_PAD_SD3_DAT3__SD3_DATA3  PADCTL_EMMC
			>;
		};
	};

	usdhc4 {
		pinctrl_usdhc4_mn: usdhc4grp-mn {
			fsl,pins = <
				MX6QDL_PAD_SD4_CMD__SD4_CMD     PADCTL_EMMC
				MX6QDL_PAD_SD4_CLK__SD4_CLK     PADCTL_EMMC
				MX6QDL_PAD_SD4_DAT0__SD4_DATA0  PADCTL_EMMC
				MX6QDL_PAD_SD4_DAT1__SD4_DATA1  PADCTL_EMMC
				MX6QDL_PAD_SD4_DAT2__SD4_DATA2  PADCTL_EMMC
				MX6QDL_PAD_SD4_DAT3__SD4_DATA3  PADCTL_EMMC
				MX6QDL_PAD_SD4_DAT4__SD4_DATA4  PADCTL_EMMC
				MX6QDL_PAD_SD4_DAT5__SD4_DATA5  PADCTL_EMMC
				MX6QDL_PAD_SD4_DAT6__SD4_DATA6  PADCTL_EMMC
				MX6QDL_PAD_SD4_DAT7__SD4_DATA7  PADCTL_EMMC
			>;
		};
	};

#define SION_HYS_PKDIS_ODDIS_100MHZ_40Z_FSLEW 0x400100b1
#define SION_HYS_PKDIS_ODEN_100MHZ_40Z_FSLEW 0x400108b1
#define HYS_PU100K_ODDIS_100MHZ_40Z_FSLEW     0x0001b0b1
	/*  Why did I do this?  */
	hog {
		pinctrl_hog_mn: hoggrp-mn {
			fsl,pins = <
				/*  SPI DUART IRQ line.  */
				/*MX6QDL_PAD_GPIO_0__GPIO1_IO00	0x80000000*/
				MX6QDL_PAD_GPIO_0__CCM_CLKO1  0x000130b0
				MX6QDL_PAD_GPIO_17__GPIO7_IO12   SION_HYS_PKDIS_ODEN_100MHZ_40Z_FSLEW   /*204 pcie reset-gpio*/
				MX6QDL_PAD_EIM_D19__GPIO3_IO19   SION_HYS_PKDIS_ODDIS_100MHZ_40Z_FSLEW  /* 83 pcie1 power-on-gpio*/
				MX6QDL_PAD_ENET_RXD0__GPIO1_IO27 SION_HYS_PKDIS_ODDIS_100MHZ_40Z_FSLEW  /* 27 pcie2 power-on-gpio*/
				MX6QDL_PAD_GPIO_5__GPIO1_IO05         HYS_PU100K_ODDIS_100MHZ_40Z_FSLEW /*  5 pcie1 wake-up-gpio*/
				MX6QDL_PAD_KEY_COL4__GPIO4_IO14  SION_HYS_PKDIS_ODEN_100MHZ_40Z_FSLEW   /*110 pcie1 disable-gpio*/
				MX6QDL_PAD_GPIO_7__GPIO1_IO07         HYS_PU100K_ODDIS_100MHZ_40Z_FSLEW /*  7 pcie2 wake-up-gpio*/
				MX6QDL_PAD_EIM_D31__GPIO3_IO31   SION_HYS_PKDIS_ODDIS_100MHZ_40Z_FSLEW  /* 95 pcie2 disable-gpio*/
				MX6QDL_PAD_EIM_D30__GPIO3_IO30	 SION_HYS_PKDIS_ODDIS_100MHZ_40Z_FSLEW  /* 94 light control*/
			>;
		};
	};

	ipu2_2 { /* parallel camera */
		pinctrl_ipu2_2_mn: ipu2grp-2mn {
			fsl,pins = <
				MX6QDL_PAD_EIM_A17__IPU2_CSI1_DATA12    0x0000b0b1
				MX6QDL_PAD_EIM_A18__IPU2_CSI1_DATA13    0x0000b0b1
				MX6QDL_PAD_EIM_A19__IPU2_CSI1_DATA14    0x0000b0b1
				MX6QDL_PAD_EIM_A20__IPU2_CSI1_DATA15    0x0000b0b1
				MX6QDL_PAD_EIM_A21__IPU2_CSI1_DATA16    0x0000b0b1
				MX6QDL_PAD_EIM_A22__IPU2_CSI1_DATA17    0x0000b0b1
				MX6QDL_PAD_EIM_A23__IPU2_CSI1_DATA18    0x0000b0b1
				MX6QDL_PAD_EIM_A24__IPU2_CSI1_DATA19    0x0000b0b1
				MX6QDL_PAD_EIM_A16__IPU2_CSI1_PIXCLK    0x0000b0b1
				MX6QDL_PAD_EIM_EB3__IPU2_CSI1_HSYNC    0x0000b0b1
				MX6QDL_PAD_EIM_DA12__IPU2_CSI1_VSYNC    0x0000b0b1
				MX6QDL_PAD_EIM_D23__IPU2_CSI1_DATA_EN   0x0000b0b1
			>;
		};
	};

        audmux {
		pinctrl_audmux_4: audmux-4 {
			fsl,pins = <
			// RXFS and RXC unconnected on Falcon.
			//	MX6QDL_PAD_DISP0_DAT18__AUD4_RXFS	0x0001b0b0
			//	MX6QDL_PAD_DISP0_DAT19__AUD4_RXC	0x0001b0b0
				MX6QDL_PAD_DISP0_DAT23__AUD4_RXD  0x130b0
				MX6QDL_PAD_DISP0_DAT20__AUD4_TXC  0x130b0
				MX6QDL_PAD_DISP0_DAT21__AUD4_TXD  0x110b0
				MX6QDL_PAD_DISP0_DAT22__AUD4_TXFS 0x130b0
			>;
               };
	};

/*  SION disabled:HYS Enabled:100KOhm PU:PUE Enabled:PKE Enabled:ODE disabled:100MHz:40Ohm:SLOW  */
#define	PADCTL_GPIO_DEFAULT	0x0001b0b0
	gpio_misc {
		/*
		 * Complete list of all GPIOs as dumped by the Freescale
		 * IOMUX tool.  If your driver/subsystem needs a GPIO,
		 * comment it out from the list below and paste it into a
		 * new pinctrl block.
		 */
		gpio_1 {
			fsl,pins = <
				MX6QDL_PAD_GPIO_2__GPIO1_IO02		PADCTL_GPIO_DEFAULT
				MX6QDL_PAD_GPIO_4__GPIO1_IO04		PADCTL_GPIO_DEFAULT
			//	MX6QDL_PAD_GPIO_5__GPIO1_IO05		PADCTL_GPIO_DEFAULT
			//	MX6QDL_PAD_GPIO_7__GPIO1_IO07		PADCTL_GPIO_DEFAULT
				MX6QDL_PAD_GPIO_8__GPIO1_IO08		PADCTL_GPIO_DEFAULT
				MX6QDL_PAD_GPIO_9__GPIO1_IO09		PADCTL_GPIO_DEFAULT
				MX6QDL_PAD_SD1_DAT1__GPIO1_IO17		PADCTL_GPIO_DEFAULT
				MX6QDL_PAD_SD1_CMD__GPIO1_IO18		PADCTL_GPIO_DEFAULT
				MX6QDL_PAD_SD1_DAT2__GPIO1_IO19		PADCTL_GPIO_DEFAULT
				MX6QDL_PAD_ENET_RX_ER__GPIO1_IO24	PADCTL_GPIO_DEFAULT
			//	MX6QDL_PAD_ENET_CRS_DV__GPIO1_IO25	PADCTL_GPIO_DEFAULT
				MX6QDL_PAD_ENET_RXD1__GPIO1_IO26	PADCTL_GPIO_DEFAULT
			//	MX6QDL_PAD_ENET_RXD0__GPIO1_IO27	PADCTL_GPIO_DEFAULT
				MX6QDL_PAD_ENET_TXD0__GPIO1_IO30	PADCTL_GPIO_DEFAULT
			>;
		};
		gpio_2 {
			fsl,pins = <
				MX6QDL_PAD_NANDF_D0__GPIO2_IO00		PADCTL_GPIO_DEFAULT
				MX6QDL_PAD_NANDF_D1__GPIO2_IO01		PADCTL_GPIO_DEFAULT
				MX6QDL_PAD_NANDF_D2__GPIO2_IO02		PADCTL_GPIO_DEFAULT
				MX6QDL_PAD_NANDF_D3__GPIO2_IO03		PADCTL_GPIO_DEFAULT
				MX6QDL_PAD_NANDF_D4__GPIO2_IO04		PADCTL_GPIO_DEFAULT
				MX6QDL_PAD_NANDF_D5__GPIO2_IO05		PADCTL_GPIO_DEFAULT
				MX6QDL_PAD_NANDF_D6__GPIO2_IO06		PADCTL_GPIO_DEFAULT
				MX6QDL_PAD_NANDF_D7__GPIO2_IO07		PADCTL_GPIO_DEFAULT
				MX6QDL_PAD_EIM_CS1__GPIO2_IO24		PADCTL_GPIO_DEFAULT
			>;
		};
		gpio_3 {
			fsl,pins = <
				MX6QDL_PAD_EIM_D16__GPIO3_IO16		PADCTL_GPIO_DEFAULT
				MX6QDL_PAD_EIM_D17__GPIO3_IO17		PADCTL_GPIO_DEFAULT
				MX6QDL_PAD_EIM_D18__GPIO3_IO18		PADCTL_GPIO_DEFAULT
			//	MX6QDL_PAD_EIM_D19__GPIO3_IO19		PADCTL_GPIO_DEFAULT
				MX6QDL_PAD_EIM_D22__GPIO3_IO22		PADCTL_GPIO_DEFAULT
				MX6QDL_PAD_EIM_D23__GPIO3_IO23		PADCTL_GPIO_DEFAULT
			//	MX6QDL_PAD_EIM_D30__GPIO3_IO30		PADCTL_GPIO_DEFAULT
			//	MX6QDL_PAD_EIM_D31__GPIO3_IO31		PADCTL_GPIO_DEFAULT
			>;
		};
		gpio_4 {
			fsl,pins = <
				MX6QDL_PAD_KEY_COL2__GPIO4_IO10   	PADCTL_GPIO_DEFAULT
			//	MX6QDL_PAD_KEY_COL4__GPIO4_IO14   	PADCTL_GPIO_DEFAULT
				MX6QDL_PAD_KEY_ROW4__GPIO4_IO15   	PADCTL_GPIO_DEFAULT
				MX6QDL_PAD_DI0_PIN15__GPIO4_IO17  	PADCTL_GPIO_DEFAULT
				MX6QDL_PAD_DI0_PIN3__GPIO4_IO19   	PADCTL_GPIO_DEFAULT
				MX6QDL_PAD_DI0_PIN4__GPIO4_IO20   	PADCTL_GPIO_DEFAULT
				MX6QDL_PAD_DISP0_DAT5__GPIO4_IO26 	PADCTL_GPIO_DEFAULT
				MX6QDL_PAD_DISP0_DAT6__GPIO4_IO27 	PADCTL_GPIO_DEFAULT
			>;
		};
		gpio_5 {
			fsl,pins = <
				MX6QDL_PAD_CSI0_DATA_EN__GPIO5_IO20	PADCTL_GPIO_DEFAULT
				MX6QDL_PAD_CSI0_VSYNC__GPIO5_IO21	PADCTL_GPIO_DEFAULT
				MX6QDL_PAD_CSI0_DAT12__GPIO5_IO30	PADCTL_GPIO_DEFAULT
				MX6QDL_PAD_CSI0_DAT13__GPIO5_IO31	PADCTL_GPIO_DEFAULT
			>;
		};
		gpio_6 {
			fsl,pins = <
				MX6QDL_PAD_CSI0_DAT14__GPIO6_IO00	PADCTL_GPIO_DEFAULT
				MX6QDL_PAD_CSI0_DAT16__GPIO6_IO02	PADCTL_GPIO_DEFAULT
				MX6QDL_PAD_CSI0_DAT17__GPIO6_IO03	PADCTL_GPIO_DEFAULT
				MX6QDL_PAD_NANDF_CLE__GPIO6_IO07	PADCTL_GPIO_DEFAULT
				MX6QDL_PAD_NANDF_WP_B__GPIO6_IO09	PADCTL_GPIO_DEFAULT
				MX6QDL_PAD_NANDF_RB0__GPIO6_IO10	PADCTL_GPIO_DEFAULT
				MX6QDL_PAD_NANDF_CS0__GPIO6_IO11	PADCTL_GPIO_DEFAULT
				MX6QDL_PAD_NANDF_CS1__GPIO6_IO14	PADCTL_GPIO_DEFAULT
			//	MX6QDL_PAD_NANDF_CS3__GPIO6_IO16	PADCTL_GPIO_DEFAULT
				MX6QDL_PAD_EIM_BCLK__GPIO6_IO31		PADCTL_GPIO_DEFAULT
			>;
		};
		gpio_7 {
			fsl,pins = <
				MX6QDL_PAD_GPIO_16__GPIO7_IO11		PADCTL_GPIO_DEFAULT
			//	MX6QDL_PAD_GPIO_17__GPIO7_IO12		PADCTL_GPIO_DEFAULT
				MX6QDL_PAD_GPIO_18__GPIO7_IO13		PADCTL_GPIO_DEFAULT
			>;
		};
	};
};

&mipi_csi {
	status = "okay";
	ipu_id = <0>;
	csi_id = <0>;
	v_channel = <0>;
	lanes = <2>;
	vdev = <1>;
};

&cpu0 {
	operating-points = <
		/* kHz    uV */
		1200000 1275000
		996000  1275000
		852000  1275000
		792000  1150000
		396000  975000
	>;
	fsl,soc-operating-points = <
		/* ARM kHz  SOC-PU uV */
		1200000       1275000
		996000        1275000
		852000        1275000
		792000        1175000
		396000        1175000
	>;
};
